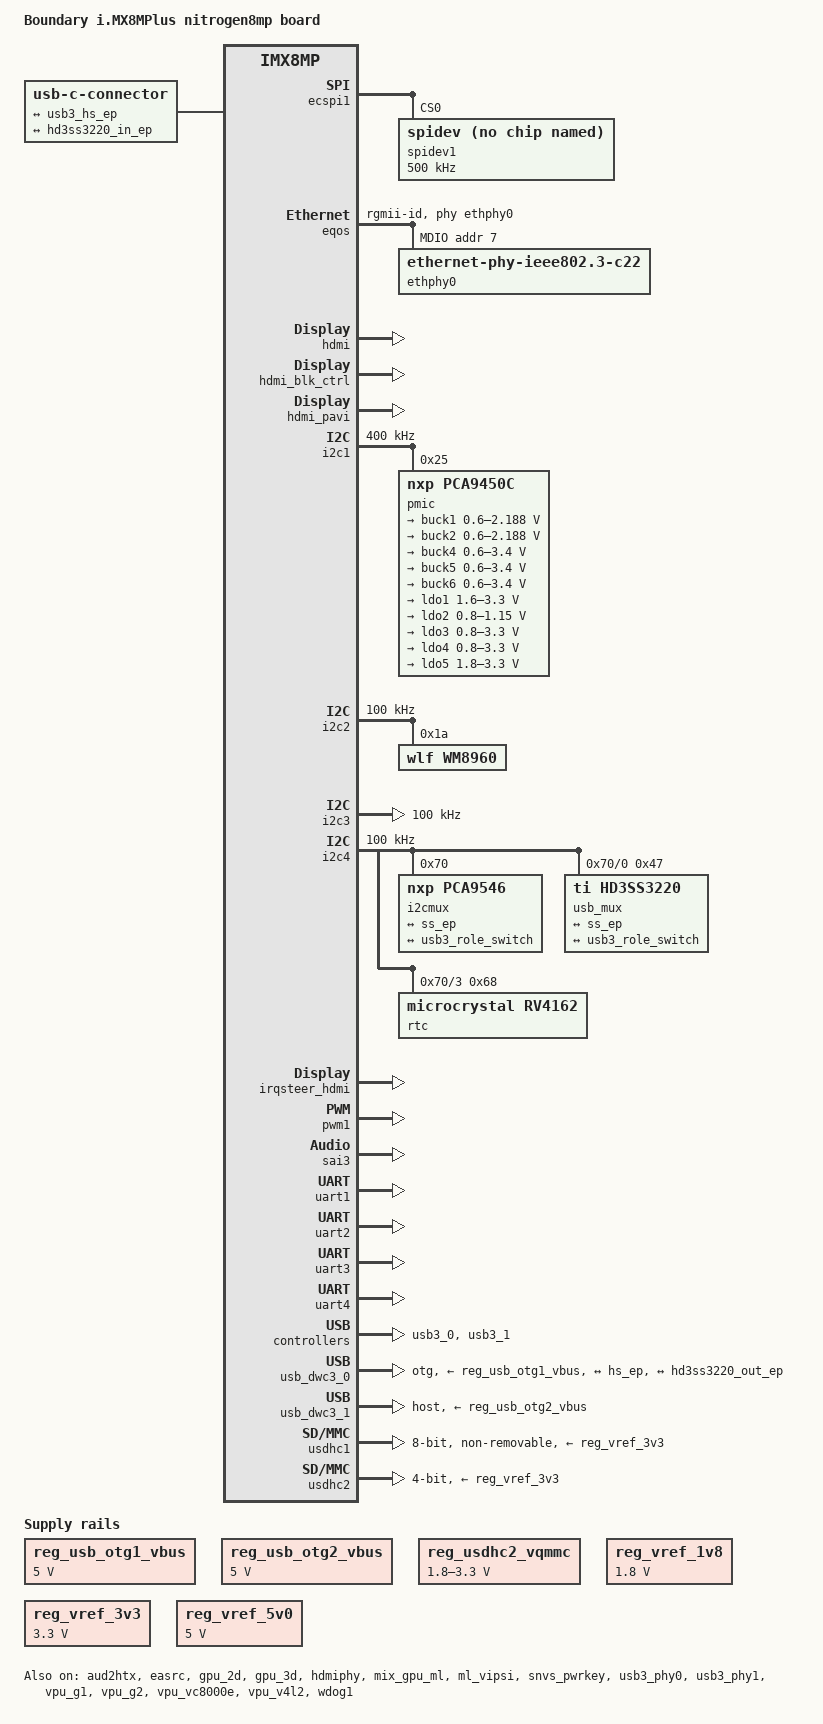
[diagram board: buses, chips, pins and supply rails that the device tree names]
// SPDX-License-Identifier: (GPL-2.0+ OR MIT)
/*
 * Copyright 2020 Boundary Devices
 */

/dts-v1/;

#include <dt-bindings/usb/pd.h>
#include "imx8mp.dtsi"

&iomuxc {
	pinctrl-names = "default";
	pinctrl-0 = <&pinctrl_hog>;

	pinctrl_backlight_mipi: backlight-mipigrp {
		fsl,pins = <
#define GP_BACKLIGHT_MIPI_EN	<&gpio1 9 GPIO_ACTIVE_HIGH>
			MX8MP_IOMUXC_GPIO1_IO09__GPIO1_IO09           0x106
		>;
	};

	pinctrl_ecspi1: ecspi1grp {
		fsl,pins = <
			/* J6 */
			MX8MP_IOMUXC_ECSPI1_SCLK__ECSPI1_SCLK		0x82	/* Pin 7 */
			MX8MP_IOMUXC_ECSPI1_MOSI__ECSPI1_MOSI		0x82	/* Pin 6 */
			MX8MP_IOMUXC_ECSPI1_MISO__ECSPI1_MISO		0x82	/* Pin 5 */
#define GP_ECSPI1_CS	<&gpio5 9 GPIO_ACTIVE_LOW>
			MX8MP_IOMUXC_ECSPI1_SS0__GPIO5_IO09		0x143	/* Pin 4 */
			MX8MP_IOMUXC_GPIO1_IO04__GPIO1_IO04		0x100	/* Pin 8 */
			MX8MP_IOMUXC_GPIO1_IO05__GPIO1_IO05		0x100	/* Pin 9 */
		>;
	};

	pinctrl_eqos: eqosgrp {
		fsl,pins = <
			MX8MP_IOMUXC_ENET_MDC__ENET_QOS_MDC		0x20
			MX8MP_IOMUXC_ENET_MDIO__ENET_QOS_MDIO		0xa0
			MX8MP_IOMUXC_ENET_TX_CTL__ENET_QOS_RGMII_TX_CTL	0x1f
			MX8MP_IOMUXC_ENET_TXC__CCM_ENET_QOS_CLOCK_GENERATE_TX_CLK	0x1f
			MX8MP_IOMUXC_ENET_TD0__ENET_QOS_RGMII_TD0		0x1f
			MX8MP_IOMUXC_ENET_TD1__ENET_QOS_RGMII_TD1		0x1f
			MX8MP_IOMUXC_ENET_TD2__ENET_QOS_RGMII_TD2		0x1f
			MX8MP_IOMUXC_ENET_TD3__ENET_QOS_RGMII_TD3		0x1f

			MX8MP_IOMUXC_ENET_RX_CTL__ENET_QOS_RGMII_RX_CTL	0x91
			MX8MP_IOMUXC_ENET_RXC__CCM_ENET_QOS_CLOCK_GENERATE_RX_CLK	0x91
			MX8MP_IOMUXC_ENET_RD0__ENET_QOS_RGMII_RD0	0x91
			MX8MP_IOMUXC_ENET_RD1__ENET_QOS_RGMII_RD1	0x91
			MX8MP_IOMUXC_ENET_RD2__ENET_QOS_RGMII_RD2	0x91
			MX8MP_IOMUXC_ENET_RD3__ENET_QOS_RGMII_RD3	0x91
#define GP_EQOS_RESET	<&gpio3 16 GPIO_ACTIVE_LOW>
			MX8MP_IOMUXC_NAND_READY_B__GPIO3_IO16		0x100
#define GPIRQ_EQOS_PHY	<&gpio3 2 IRQ_TYPE_LEVEL_LOW>
			MX8MP_IOMUXC_NAND_CE1_B__GPIO3_IO02		0x10
		>;
	};

	pinctrl_hog: hoggrp {
		fsl,pins = <
			MX8MP_IOMUXC_HDMI_DDC_SCL__HDMIMIX_HDMI_SCL	0x400001c3
			MX8MP_IOMUXC_HDMI_DDC_SDA__HDMIMIX_HDMI_SDA	0x400001c3
			MX8MP_IOMUXC_HDMI_HPD__HDMIMIX_HDMI_HPD		0x40000019
			MX8MP_IOMUXC_HDMI_CEC__HDMIMIX_HDMI_CEC		0x40000019
		>;
	};

	pinctrl_i2c1: i2c1grp {
		fsl,pins = <
			MX8MP_IOMUXC_I2C1_SCL__I2C1_SCL		0x400001c3
			MX8MP_IOMUXC_I2C1_SDA__I2C1_SDA		0x400001c3
		>;
	};

	pinctrl_i2c1_1: i2c1-1grp {
		fsl,pins = <
#define GP_I2C1_SCL	<&gpio5 14 GPIO_OPEN_DRAIN>
			MX8MP_IOMUXC_I2C1_SCL__GPIO5_IO14        	0x1c3
#define GP_I2C1_SDA	<&gpio5 15 GPIO_OPEN_DRAIN>
			MX8MP_IOMUXC_I2C1_SDA__GPIO5_IO15        	0x1c3
		>;
	};

	pinctrl_i2c2: i2c2grp {
		fsl,pins = <
			MX8MP_IOMUXC_I2C2_SCL__I2C2_SCL			0x400001c3
			MX8MP_IOMUXC_I2C2_SDA__I2C2_SDA			0x400001c3
		>;
	};

	pinctrl_i2c2_1: i2c2-1grp {
		fsl,pins = <
#define GP_I2C2_SCL	<&gpio5 16 GPIO_OPEN_DRAIN>
			MX8MP_IOMUXC_I2C2_SCL__GPIO5_IO16        	0x1c3
#define GP_I2C2_SDA	<&gpio5 17 GPIO_OPEN_DRAIN>
			MX8MP_IOMUXC_I2C2_SDA__GPIO5_IO17        	0x1c3
		>;
	};

	pinctrl_i2c3: i2c3grp {
		fsl,pins = <
			MX8MP_IOMUXC_I2C3_SCL__I2C3_SCL			0x400001c3
			MX8MP_IOMUXC_I2C3_SDA__I2C3_SDA			0x400001c3
		>;
	};

	pinctrl_i2c3_1: i2c3-1grp {
		fsl,pins = <
#define GP_I2C3_SCL	<&gpio5 18 GPIO_OPEN_DRAIN>
			MX8MP_IOMUXC_I2C3_SCL__GPIO5_IO18        	0x1c3
#define GP_I2C3_SDA	<&gpio5 19 GPIO_OPEN_DRAIN>
			MX8MP_IOMUXC_I2C3_SDA__GPIO5_IO19        	0x1c3
		>;
	};

	pinctrl_i2c4: i2c4grp {
		fsl,pins = <
			MX8MP_IOMUXC_I2C4_SCL__I2C4_SCL			0x400001c3
			MX8MP_IOMUXC_I2C4_SDA__I2C4_SDA			0x400001c3
		>;
	};

	pinctrl_i2c4_1: i2c4-1grp {
		fsl,pins = <
#define GP_I2C4_SCL	<&gpio5 20 GPIO_OPEN_DRAIN>
			MX8MP_IOMUXC_I2C4_SCL__GPIO5_IO20        	0x1c3
#define GP_I2C4_SDA	<&gpio5 21 GPIO_OPEN_DRAIN>
			MX8MP_IOMUXC_I2C4_SDA__GPIO5_IO21        	0x1c3
		>;
	};

	pinctrl_i2c4_tca9546: i2c4-tca9546grp {
		fsl,pins = <
#define GP_I2C4_MUX_RESET	<&gpio1 8 GPIO_ACTIVE_LOW>
			MX8MP_IOMUXC_GPIO1_IO08__GPIO1_IO08		0x100
		>;
	};

	pinctrl_i2c4a_hd3ss3220: i2c4-hd3ss3220grp {
		fsl,pins = <
#define GPIRQ_HD3SS3220	<&gpio5 4 IRQ_TYPE_LEVEL_LOW>
			MX8MP_IOMUXC_SPDIF_RX__GPIO5_IO04		0x140	/* TP93 */
		>;
	};

	pinctrl_i2c4d_rv4162: i2c4d-rv4162grp {
		fsl,pins = <
#define GPIRQ_RV4162		<&gpio1 10 IRQ_TYPE_LEVEL_LOW>
			MX8MP_IOMUXC_GPIO1_IO10__GPIO1_IO10		0x1c0
		>;
	};

	pinctrl_mipi_ltk0680ytmdb: mipi-ltk0680ytmdbgrp {
		fsl,pins = <
#define GP_LTK700WS08_DISPLAY_EN	<&gpio3 14 GPIO_ACTIVE_HIGH>
			MX8MP_IOMUXC_NAND_DQS__GPIO3_IO14		0x100
		>;
	};

	pinctrl_mipi_ltk069wxbct02: mipi-ltk069wxbct02grp {
		fsl,pins = <
#define GP_LTK700WS08_DISPLAY_EN	<&gpio3 14 GPIO_ACTIVE_HIGH>
			MX8MP_IOMUXC_NAND_DQS__GPIO3_IO14		0x100
		>;
	};

	pinctrl_pmic: pmicirq {
		fsl,pins = <
#define GPIRQ_PMIC	<&gpio3 0 IRQ_TYPE_LEVEL_LOW>
			MX8MP_IOMUXC_NAND_ALE__GPIO3_IO00	0x41
		>;
	};

	pinctrl_pwm1: pwm1grp {
		fsl,pins = <
			/* J14 mipi display */
			MX8MP_IOMUXC_GPIO1_IO01__PWM1_OUT	0x100
		>;
	};

	pinctrl_reg_usbotg1_vbus: reg-usbotg1-vbusgrp {
		fsl,pins = <
#define GP_REG_USB_OTG1_VBUS	<&gpio1 11 GPIO_ACTIVE_HIGH>
			MX8MP_IOMUXC_GPIO1_IO11__GPIO1_IO11	0x100
		>;
	};

	pinctrl_reg_usbotg2_vbus: reg-usbotg2-vbusgrp {
		fsl,pins = <
#define GP_REG_USB_OTG2_VBUS	<&gpio1 12 GPIO_ACTIVE_HIGH>
			MX8MP_IOMUXC_GPIO1_IO12__GPIO1_IO12	0x100
		>;
	};

	pinctrl_reg_usdhc2_vqmmc: reg_usdhc2_vqmmcgrp {
		fsl,pins = <
#define GP_USDHC2_VSEL	<&gpio1 3 GPIO_ACTIVE_HIGH>
			MX8MP_IOMUXC_GPIO1_IO03__GPIO1_IO03	0x116
		>;
	};

	pinctrl_sai3: sai3grp {
		fsl,pins = <
			/* WM8960 */
			MX8MP_IOMUXC_SAI3_TXFS__AUDIOMIX_SAI3_TX_SYNC	0xd6
			MX8MP_IOMUXC_SAI3_TXC__AUDIOMIX_SAI3_TX_BCLK	0xd6
			MX8MP_IOMUXC_SAI3_RXD__AUDIOMIX_SAI3_RX_DATA00	0xd6
			MX8MP_IOMUXC_SAI3_TXD__AUDIOMIX_SAI3_TX_DATA00	0xd6
			MX8MP_IOMUXC_SAI3_MCLK__AUDIOMIX_SAI3_MCLK	0xd6
		>;
	};

	pinctrl_sound_wm8960: sound-wm8960grp {
		fsl,pins = <
#define GP_WM8960_HP_DET	<&gpio1 14 GPIO_ACTIVE_HIGH>
			MX8MP_IOMUXC_GPIO1_IO14__GPIO1_IO14	0x80
		>;
	};


	pinctrl_ts_gt911: ts-gt911grp {
		fsl,pins = <
#define GPIRQ_TS_GT911	<&gpio3 10 IRQ_TYPE_LEVEL_HIGH>
#define GP_TS_GT911_IRQ	<&gpio3 10 GPIO_ACTIVE_HIGH>
			MX8MP_IOMUXC_NAND_DATA04__GPIO3_IO10	0x1c0
#define GP_TS_GT911_RESET	<&gpio3 9 GPIO_ACTIVE_HIGH>
			MX8MP_IOMUXC_NAND_DATA03__GPIO3_IO09	0x119
		>;
	};

	pinctrl_uart1: uart1grp {
		fsl,pins = <
			MX8MP_IOMUXC_UART1_RXD__UART1_DCE_RX	0x140
			MX8MP_IOMUXC_UART1_TXD__UART1_DCE_TX	0x140
		>;
	};

	pinctrl_uart2: uart2grp {
		fsl,pins = <
			MX8MP_IOMUXC_UART2_RXD__UART2_DCE_RX	0x140
			MX8MP_IOMUXC_UART2_TXD__UART2_DCE_TX	0x140
		>;
	};

	pinctrl_uart3: uart3grp {
		fsl,pins = <
			MX8MP_IOMUXC_UART3_RXD__UART3_DCE_RX	0x140
			MX8MP_IOMUXC_UART3_TXD__UART3_DCE_TX	0x140
		>;
	};

	pinctrl_uart4: uart4grp {
		fsl,pins = <
			MX8MP_IOMUXC_UART4_RXD__UART4_DCE_RX	0x140
			MX8MP_IOMUXC_UART4_TXD__UART4_DCE_TX	0x140
		>;
	};

	pinctrl_usb3_0: usb3-0grp {
		fsl,pins = <
			MX8MP_IOMUXC_GPIO1_IO13__USB1_OC	0x1c0
		>;
	};

	pinctrl_usb3_1: usb3-1grp {
		fsl,pins = <
#define GP_USB3_1_HUB_RESET	<&gpio1 6 GPIO_ACTIVE_LOW>
			MX8MP_IOMUXC_GPIO1_IO06__GPIO1_IO06	0x100
			MX8MP_IOMUXC_GPIO1_IO15__USB2_OC	0x1c0
		>;
	};

	pinctrl_usdhc1: usdhc1grp {
		fsl,pins = <
			MX8MP_IOMUXC_SD1_CLK__USDHC1_CLK	0x190
			MX8MP_IOMUXC_SD1_CMD__USDHC1_CMD	0x1d0
			MX8MP_IOMUXC_SD1_DATA0__USDHC1_DATA0	0x1d0
			MX8MP_IOMUXC_SD1_DATA1__USDHC1_DATA1	0x1d0
			MX8MP_IOMUXC_SD1_DATA2__USDHC1_DATA2	0x1d0
			MX8MP_IOMUXC_SD1_DATA3__USDHC1_DATA3	0x1d0
			MX8MP_IOMUXC_SD1_DATA4__USDHC1_DATA4	0x1d0
			MX8MP_IOMUXC_SD1_DATA5__USDHC1_DATA5	0x1d0
			MX8MP_IOMUXC_SD1_DATA6__USDHC1_DATA6	0x1d0
			MX8MP_IOMUXC_SD1_DATA7__USDHC1_DATA7	0x1d0
			MX8MP_IOMUXC_SD1_STROBE__USDHC1_STROBE	0x1d0
#define GP_EMMC_RESET	<&gpio2 10 IRQ_TYPE_LEVEL_LOW>
			MX8MP_IOMUXC_SD1_RESET_B__GPIO2_IO10	0x140
		>;
	};

	pinctrl_usdhc1_100mhz: usdhc1grp-100mhz {
		fsl,pins = <
			MX8MP_IOMUXC_SD1_CLK__USDHC1_CLK	0x194
			MX8MP_IOMUXC_SD1_CMD__USDHC1_CMD	0x1d4
			MX8MP_IOMUXC_SD1_DATA0__USDHC1_DATA0	0x1d4
			MX8MP_IOMUXC_SD1_DATA1__USDHC1_DATA1	0x1d4
			MX8MP_IOMUXC_SD1_DATA2__USDHC1_DATA2	0x1d4
			MX8MP_IOMUXC_SD1_DATA3__USDHC1_DATA3	0x1d4
			MX8MP_IOMUXC_SD1_DATA4__USDHC1_DATA4	0x1d4
			MX8MP_IOMUXC_SD1_DATA5__USDHC1_DATA5	0x1d4
			MX8MP_IOMUXC_SD1_DATA6__USDHC1_DATA6	0x1d4
			MX8MP_IOMUXC_SD1_DATA7__USDHC1_DATA7	0x1d4
			MX8MP_IOMUXC_SD1_STROBE__USDHC1_STROBE	0x1d4
		>;
	};

	pinctrl_usdhc1_200mhz: usdhc1grp-200mhz {
		fsl,pins = <
			MX8MP_IOMUXC_SD1_CLK__USDHC1_CLK	0x196
			MX8MP_IOMUXC_SD1_CMD__USDHC1_CMD	0x1d6
			MX8MP_IOMUXC_SD1_DATA0__USDHC1_DATA0	0x1d6
			MX8MP_IOMUXC_SD1_DATA1__USDHC1_DATA1	0x1d6
			MX8MP_IOMUXC_SD1_DATA2__USDHC1_DATA2	0x1d6
			MX8MP_IOMUXC_SD1_DATA3__USDHC1_DATA3	0x1d6
			MX8MP_IOMUXC_SD1_DATA4__USDHC1_DATA4	0x1d6
			MX8MP_IOMUXC_SD1_DATA5__USDHC1_DATA5	0x1d6
			MX8MP_IOMUXC_SD1_DATA6__USDHC1_DATA6	0x1d6
			MX8MP_IOMUXC_SD1_DATA7__USDHC1_DATA7	0x1d6
			MX8MP_IOMUXC_SD1_STROBE__USDHC1_STROBE	0x1d6
		>;
	};

	pinctrl_usdhc2: usdhc2grp {
		fsl,pins = <
			MX8MP_IOMUXC_SD2_CLK__USDHC2_CLK	0x190
			MX8MP_IOMUXC_SD2_CMD__USDHC2_CMD	0x1d0
			MX8MP_IOMUXC_SD2_DATA0__USDHC2_DATA0	0x1d0
			MX8MP_IOMUXC_SD2_DATA1__USDHC2_DATA1	0x1d0
			MX8MP_IOMUXC_SD2_DATA2__USDHC2_DATA2	0x1d0
			MX8MP_IOMUXC_SD2_DATA3__USDHC2_DATA3	0x1d0
			MX8MP_IOMUXC_SD2_WP__USDHC2_WP		0x1d0
#define GP_USDHC2_CD	<&gpio2 12 GPIO_ACTIVE_LOW>
			MX8MP_IOMUXC_SD2_CD_B__GPIO2_IO12	0x1d0
		>;
	};

	pinctrl_usdhc2_100mhz: usdhc2grp100mhz {
		fsl,pins = <
			MX8MP_IOMUXC_SD2_CLK__USDHC2_CLK	0x194
			MX8MP_IOMUXC_SD2_CMD__USDHC2_CMD	0x1d4
			MX8MP_IOMUXC_SD2_DATA0__USDHC2_DATA0	0x1d4
			MX8MP_IOMUXC_SD2_DATA1__USDHC2_DATA1	0x1d4
			MX8MP_IOMUXC_SD2_DATA2__USDHC2_DATA2	0x1d4
			MX8MP_IOMUXC_SD2_DATA3__USDHC2_DATA3	0x1d4
		>;
	};

	pinctrl_usdhc2_200mhz: usdhc2grp200mhz {
		fsl,pins = <
			MX8MP_IOMUXC_SD2_CLK__USDHC2_CLK	0x196
			MX8MP_IOMUXC_SD2_CMD__USDHC2_CMD	0x1d6
			MX8MP_IOMUXC_SD2_DATA0__USDHC2_DATA0	0x1d6
			MX8MP_IOMUXC_SD2_DATA1__USDHC2_DATA1	0x1d6
			MX8MP_IOMUXC_SD2_DATA2__USDHC2_DATA2	0x1d6
			MX8MP_IOMUXC_SD2_DATA3__USDHC2_DATA3	0x1d6
		>;
	};

	pinctrl_wdog: wdoggrp {
		fsl,pins = <
			MX8MP_IOMUXC_GPIO1_IO02__WDOG1_WDOG_B	0xc6
		>;
	};
};

#include "panel-ltk0680ytmdb.dtsi"
#include "panel-ltk069wxbct02.dtsi"

/ {
	model = "Boundary i.MX8MPlus nitrogen8mp board";
	compatible = "boundary,imx8mp-nitrogen8mp", "fsl,imx8mp";

	aliases {
		backlight_mipi = &backlight_mipi;
		ethernet0 = &eqos;
		/delete-property/ ethernet1;
		fb_mipi = &fb_mipi;
		fb_hdmi = &lcdif3;
		lcdif = &lcdif1;
		ldb = &ldb;
		ldb_chan = &ldb_chan;
		ldb_chan2 = &ldb_chan2;
		mipi = &fb_mipi;
		mipi_dsi = &mipi_dsi;
		mipi_dsi_bridge = &mipi_dsi;
		pwm_mipi = &pwm1;
		sound_hdmi = &sound_hdmi;
		t_mipi = &t_mipi;
		ts_goodix = &ts_goodix;
		usb_mux = &usb_mux;
	};

	backlight_mipi: backlight-mipi {
		brightness-levels = <0 1 2 3 4 5 6 7 8 9 10>;
		compatible = "pwm-backlight";
		default-brightness-level = <8>;
		display = <&lcdif1>;
		enable-gpios = GP_BACKLIGHT_MIPI_EN;
		pinctrl-names = "default";
		pinctrl-0 = <&pinctrl_backlight_mipi>;
		pwms = <&pwm1 0 30000 0>;	/* 33.3 Khz */
		status = "disabled";
	};

	chosen {
		stdout-path = &uart2;
	};

	connector {
		compatible = "usb-c-connector";
		label = "USB-C";
		data-role = "dual";

		ports {
			#address-cells = <1>;
			#size-cells = <0>;

			port@0 {
				reg = <0>;
				hs_ep: endpoint {
					remote-endpoint = <&usb3_hs_ep>;
				};
			};

			port@1 {
				reg = <1>;
				ss_ep: endpoint {
					remote-endpoint = <&hd3ss3220_in_ep>;
				};
			};
		};
	};

	reg_usb_otg1_vbus: regulator-usb-otg1-vbus {
		compatible = "regulator-fixed";
		pinctrl-names = "default";
		pinctrl-0 = <&pinctrl_reg_usbotg1_vbus>;
		regulator-name = "usb_otg1_vbus";
		regulator-min-microvolt = <5000000>;
		regulator-max-microvolt = <5000000>;
		gpio = GP_REG_USB_OTG1_VBUS;
		enable-active-high;
	};

	reg_usb_otg2_vbus: regulator-usb-otg2-vbus {
		compatible = "regulator-fixed";
		pinctrl-names = "default";
		pinctrl-0 = <&pinctrl_reg_usbotg2_vbus>;
		regulator-name = "usb_otg2_vbus";
		regulator-min-microvolt = <5000000>;
		regulator-max-microvolt = <5000000>;
		gpio = GP_REG_USB_OTG2_VBUS;
		enable-active-high;
	};

	reg_usdhc2_vqmmc: regulator-usdhc2-vqmmc {
		compatible = "regulator-gpio";
		pinctrl-names = "default";
		pinctrl-0 = <&pinctrl_reg_usdhc2_vqmmc>;
		regulator-name = "reg_sd2_vsel";
		regulator-min-microvolt = <1800000>;
		regulator-max-microvolt = <3300000>;
		regulator-type = "voltage";
		regulator-boot-on;
		regulator-always-on;
		gpio = GP_USDHC2_VSEL;
		states = <1800000 0x1
			  3300000 0x0>;
	};

	reg_vref_1v8: regulator-vref-1v8 {
		compatible = "regulator-fixed";
		regulator-name = "vref-1v8";
		regulator-min-microvolt = <1800000>;
		regulator-max-microvolt = <1800000>;
	};

	reg_vref_3v3: regulator-vref-3v3 {
		compatible = "regulator-fixed";
		regulator-name = "vref-3v3";
		regulator-min-microvolt = <3300000>;
		regulator-max-microvolt = <3300000>;
	};

	reg_vref_5v0: regulator-vref-5v0 {
		compatible = "regulator-fixed";
		regulator-name = "vref-5v0";
		regulator-min-microvolt = <5000000>;
		regulator-max-microvolt = <5000000>;
	};

	reserved-memory {
		linux,cma {
			size = <0 0x20000000>;
		};
	};

	sound_hdmi: sound-hdmi {
		compatible = "fsl,imx-audio-hdmi";
		model = "audio-hdmi";
		audio-cpu = <&aud2htx>;
		hdmi-out;
		constraint-rate = <44100>,
				<88200>,
				<176400>,
				<32000>,
				<48000>,
				<96000>,
				<192000>;
		status = "okay";
	};

	sound-wm8960 {
#if 0
		asrc-controller = <&easrc>;
#endif
		audio-codec = <&wm8960>;
		audio-routing =
			"Headphone Jack", "HP_L",
			"Headphone Jack", "HP_R",
			"Ext Spk", "SPK_LP",
			"Ext Spk", "SPK_LN",
			"Ext Spk", "SPK_RP",
			"Ext Spk", "SPK_RN",
			"LINPUT1", "Main MIC",
			"Main MIC", "MICB",
			"RINPUT1", "Mic Jack",
			"Mic Jack", "MICB";
#if 0
			"CPU-Playback", "ASRC-Playback",
			"Playback", "CPU-Playback",
			"ASRC-Capture", "CPU-Capture",
			"CPU-Capture", "Capture";
#endif
		codec-master;
		compatible = "fsl,imx-audio-wm8960";
		cpu-dai = <&sai3>;
		/* JD2: hp detect high for headphone*/
		hp-det = <2 0>;
		hp-det-gpios = GP_WM8960_HP_DET;
		model = "wm8960-audio";
		pinctrl-names = "default";
		pinctrl-0 = <&pinctrl_sound_wm8960>;
	};
};

&A53_0 {
	cpu-supply = <&buck2>;
};

&A53_1 {
	cpu-supply = <&buck2>;
};

&A53_2 {
	cpu-supply = <&buck2>;
};

&A53_3 {
	cpu-supply = <&buck2>;
};

&aud2htx {
	status = "okay";
};

&clk {
	init-on-array = <IMX8MP_CLK_HSIO_ROOT>;
};

&easrc {
	fsl,asrc-rate  = <48000>;
	status = "okay";
};

&ecspi1 {
	#address-cells = <1>;
	#size-cells = <0>;
	fsl,spi-num-chipselects = <1>;
	pinctrl-names = "default";
	pinctrl-0 = <&pinctrl_ecspi1>;
	cs-gpios = GP_ECSPI1_CS;
	status = "okay";

	spidev1: spi@0 {
		compatible = "spidev";
		reg = <0>;
		spi-max-frequency = <500000>;
	};
};

&eqos {
	pinctrl-names = "default";
	pinctrl-0 = <&pinctrl_eqos>;
	phy-mode = "rgmii-id";
	phy-handle = <&ethphy0>;
	status = "okay";

	mdio {
		compatible = "snps,dwmac-mdio";
		#address-cells = <1>;
		#size-cells = <0>;

		ethphy0: ethernet-phy@7 {
			compatible = "ethernet-phy-ieee802.3-c22";
			at803x,hib-disabled;
			eee-broken-1000t;
			interrupts-extended = GPIRQ_EQOS_PHY;
#if 0
			reset-gpios = GP_EQOS_RESET;
#endif
			reg = <7>;
		};
	};
};

&gpu_2d {
	status = "okay";
};

&gpu_3d {
	status = "okay";
};

&hdmi {
	status = "okay";
};

&hdmiphy {
	status = "okay";
};

&hdmi_blk_ctrl {
	status = "okay";
};

&hdmi_pavi {
	status = "okay";
};

&i2c1 {
	clock-frequency = <400000>;
	pinctrl-names = "default", "gpio";
	pinctrl-0 = <&pinctrl_i2c1>;
	pinctrl-1 = <&pinctrl_i2c1_1>;
	scl-gpios = GP_I2C1_SCL;
	sda-gpios = GP_I2C1_SDA;
	status = "okay";

	pmic: pca9450@25 {
		reg = <0x25>;
		compatible = "nxp,pca9450c";
		/* PMIC PCA9450 PMIC_nINT GPIO1_IO3 */
		pinctrl-0 = <&pinctrl_pmic>;
		interrupts-extended = GPIRQ_PMIC;

		regulators {
			buck1: BUCK1 {
				regulator-name = "BUCK1";
				regulator-min-microvolt = <600000>;
				regulator-max-microvolt = <2187500>;
				regulator-boot-on;
				regulator-always-on;
				regulator-ramp-delay = <3125>;
			};

			buck2: BUCK2 {
				regulator-name = "BUCK2";
				regulator-min-microvolt = <600000>;
				regulator-max-microvolt = <2187500>;
				regulator-limit-microvolt = <1025000>;
				regulator-boot-on;
				regulator-always-on;
				regulator-ramp-delay = <3125>;
				nxp,dvs-run-voltage = <950000>;
				nxp,dvs-standby-voltage = <850000>;
			};

			buck4: BUCK4 {
				regulator-name = "BUCK4";
				regulator-min-microvolt = <600000>;
				regulator-max-microvolt = <3400000>;
				regulator-boot-on;
				regulator-always-on;
			};

			buck5: BUCK5 {
				regulator-name = "BUCK5";
				regulator-min-microvolt = <600000>;
				regulator-max-microvolt = <3400000>;
				regulator-boot-on;
				regulator-always-on;
			};

			buck6: BUCK6 {
				regulator-name = "BUCK6";
				regulator-min-microvolt = <600000>;
				regulator-max-microvolt = <3400000>;
				regulator-boot-on;
				regulator-always-on;
			};

			ldo1: LDO1 {
				regulator-name = "LDO1";
				regulator-min-microvolt = <1600000>;
				regulator-max-microvolt = <3300000>;
				regulator-boot-on;
				regulator-always-on;
			};

			ldo2: LDO2 {
				regulator-name = "LDO2";
				regulator-min-microvolt = <800000>;
				regulator-max-microvolt = <1150000>;
				regulator-boot-on;
				regulator-always-on;
			};

			ldo3: LDO3 {
				regulator-name = "LDO3";
				regulator-min-microvolt = <800000>;
				regulator-max-microvolt = <3300000>;
				regulator-boot-on;
				regulator-always-on;
			};

			ldo4: LDO4 {
				regulator-name = "LDO4";
				regulator-min-microvolt = <800000>;
				regulator-max-microvolt = <3300000>;
				regulator-boot-on;
				regulator-always-on;
			};

			ldo5: LDO5 {
				regulator-name = "LDO5";
				regulator-min-microvolt = <1800000>;
				regulator-max-microvolt = <3300000>;
				regulator-boot-on;
				regulator-always-on;
			};
		};
	};
};

&i2c2 {
	clock-frequency = <100000>;
	pinctrl-names = "default", "gpio";
	pinctrl-0 = <&pinctrl_i2c2>;
	pinctrl-1 = <&pinctrl_i2c2_1>;
	scl-gpios = GP_I2C2_SCL;
	sda-gpios = GP_I2C2_SDA;
	status = "okay";

	wm8960: codec@1a {
		compatible = "wlf,wm8960";
		reg = <0x1a>;
		clocks = <&audio_blk_ctrl IMX8MP_CLK_AUDIO_BLK_CTRL_SAI3_MCLK1>;
		clock-names = "mclk";
		wlf,shared-lrclk;
	};
};

&i2c3 {
	clock-frequency = <100000>;
	pinctrl-names = "default", "gpio";
	pinctrl-0 = <&pinctrl_i2c3>;
	pinctrl-1 = <&pinctrl_i2c3_1>;
	scl-gpios = GP_I2C3_SCL;
	sda-gpios = GP_I2C3_SDA;
	status = "okay";

	ts_goodix: touchscreen@5d {
		compatible = "goodix,gt9271";
		esd-recovery-timeout-ms = <2000>;
		interrupts-extended = GPIRQ_TS_GT911;
		irq-gpios = GP_TS_GT911_IRQ;
		pinctrl-names = "default";
		pinctrl-0 = <&pinctrl_ts_gt911>;
		reg = <0x5d>;
		reset-gpios = GP_TS_GT911_RESET;
		status = "disabled";
	};
};

&i2c4 {
	clock-frequency = <100000>;
	pinctrl-names = "default", "gpio";
	pinctrl-0 = <&pinctrl_i2c4>;
	pinctrl-1 = <&pinctrl_i2c4_1>;
	scl-gpios = GP_I2C4_SCL;
	sda-gpios = GP_I2C4_SDA;
	status = "okay";

	i2cmux@70 {
		compatible = "nxp,pca9546";
		pinctrl-names = "default";
		pinctrl-0 = <&pinctrl_i2c4_tca9546>;
		reg = <0x70>;
		reset-gpios = GP_I2C4_MUX_RESET;
		#address-cells = <1>;
		#size-cells = <0>;

		i2c4a: i2c4@0 {
			/* usb type c chip */
			reg = <0>;
			#address-cells = <1>;
			#size-cells = <0>;
		};

		i2c4b: i2c4@1 {
			/* spare */
			reg = <1>;
			#address-cells = <1>;
			#size-cells = <0>;
		};

		i2c4c: i2c4@2 {
			/* J6 connector */
			reg = <2>;
			#address-cells = <1>;
			#size-cells = <0>;
		};

		i2c4d: i2c4@3 {
			/* rtc */
			reg = <3>;
			#address-cells = <1>;
			#size-cells = <0>;
		};
	};
};

&i2c4a {
	usb_mux: hd3ss3220@47 {
		/* tusb320 is compatible with hd3ss3220 */
		compatible = "ti,hd3ss3220";
		interrupts-extended = GPIRQ_HD3SS3220;
		pinctrl-names = "default";
		pinctrl-0 = <&pinctrl_i2c4a_hd3ss3220>;
		reg = <0x47>;

		ports {
			#address-cells = <1>;
			#size-cells = <0>;

			port@0 {
				reg = <0>;
				hd3ss3220_in_ep: endpoint {
					remote-endpoint = <&ss_ep>;
				};
			};

			port@1 {
				reg = <1>;
				hd3ss3220_out_ep: endpoint {
					remote-endpoint = <&usb3_role_switch>;
				};
			};
		};
	};
};

&i2c4d {
	rtc@68 {
		compatible = "microcrystal,rv4162";
		pinctrl-names = "default";
		pinctrl-0 = <&pinctrl_i2c4d_rv4162>;
		reg = <0x68>;
		interrupts-extended = GPIRQ_RV4162;
		wakeup-source;
	};
};

&irqsteer_hdmi {
	status = "okay";
};

&mipi_dsi {
	status = "disabled";

	fb_mipi: panel@0 {
		backlight = <&backlight_mipi>;
		bits-per-color = <8>;
		bridge-de-active = <0>;
		bus-format = "rgb888";
		clocks = <&mipi_dsi 0>,
			<&clk IMX8MP_CLK_MEDIA_DISP1_PIX_ROOT>;
		clock-names = "mipi_clk", "pixel_clock";
		compatible = "panel,common";
		dsi-format = "rgb888";
		dsi-lanes = <4>;
#if 0
		/* u-boot will set this where appropriate */
		enable-gpios = GP_LTK700WS08_DISPLAY_EN;
		mipi-cmds = <&mipi_cmds_ltk080a60a004t>;
#endif
		mode-skip-eot;
		mode-video;
		mode-video-burst;
		panel-height-mm = <136>;
		panel-width-mm = <217>;
		power-supply = <&reg_vref_5v0>;
		reg = <0>;
		spwg;

		display-timings {
			t_mipi: t-dsi-default {
				/* m101nwwb by default */
				clock-frequency = <66000000>;
				hactive = <1280>;
				vactive = <800>;
				hback-porch = <5>;
				hfront-porch = <123>;
				vback-porch = <3>;
				vfront-porch = <24>;
				hsync-len = <1>;
				vsync-len = <1>;
				hsync-active = <0>;
				vsync-active = <0>;
				de-active = <1>;
			};
		};
	};
};

&mix_gpu_ml {
	status = "okay";
};

&ml_vipsi {
	status = "okay";
};

&pwm1 {
	pinctrl-names = "default";
	pinctrl-0 = <&pinctrl_pwm1>;
	status = "okay";
};

&sai3 {
	pinctrl-names = "default";
	pinctrl-0 = <&pinctrl_sai3>;
	assigned-clocks = <&clk IMX8MP_CLK_SAI3>;
	assigned-clock-parents = <&clk IMX8MP_AUDIO_PLL1_OUT>;
	assigned-clock-rates = <12288000>;
	clocks = <&audio_blk_ctrl IMX8MP_CLK_AUDIO_BLK_CTRL_SAI3_IPG>, <&clk IMX8MP_CLK_DUMMY>,
		 <&audio_blk_ctrl IMX8MP_CLK_AUDIO_BLK_CTRL_SAI3_MCLK1>, <&clk IMX8MP_CLK_DUMMY>,
		 <&clk IMX8MP_CLK_DUMMY>;
	clock-names = "bus", "mclk0", "mclk1", "mclk2", "mclk3";
	fsl,sai-mclk-direction-output;
	status = "okay";
};

&sdma2 {
	status = "okay";
};

&snvs_pwrkey {
	status = "okay";
};

&uart1 { /* J3 */
	pinctrl-names = "default";
	pinctrl-0 = <&pinctrl_uart1>;
	assigned-clocks = <&clk IMX8MP_CLK_UART1>;
	assigned-clock-parents = <&clk IMX8MP_SYS_PLL1_80M>;
	status = "okay";
};

&uart2 {
	/* J1 - console */
	pinctrl-names = "default";
	pinctrl-0 = <&pinctrl_uart2>;
	status = "okay";
};

&uart3 { /* J4 */
	pinctrl-names = "default";
	pinctrl-0 = <&pinctrl_uart3>;
	assigned-clocks = <&clk IMX8MP_CLK_UART3>;
	assigned-clock-parents = <&clk IMX8MP_SYS_PLL1_80M>;
	status = "okay";
};

&uart4 { /* J2 */
	pinctrl-names = "default";
	pinctrl-0 = <&pinctrl_uart4>;
	assigned-clocks = <&clk IMX8MP_CLK_UART4>;
	assigned-clock-parents = <&clk IMX8MP_SYS_PLL1_80M>;
	status = "okay";
};

&usb3_0 {
	fsl,over-current-active-low;
	status = "okay";
};

&usb3_1 {
	fsl,over-current-active-low;
	status = "okay";
};

&usb_dwc3_0 {
	dr_mode = "otg";
	pinctrl-names = "default";
	pinctrl-0 = <&pinctrl_usb3_0>;
	status = "okay";
	usb-role-switch;
	vbus-supply = <&reg_usb_otg1_vbus>;

	ports {
		#address-cells = <1>;
		#size-cells = <0>;

		port@0 {
			reg = <0>;
			usb3_hs_ep: endpoint {
				remote-endpoint = <&hs_ep>;
			};
		};

		port@1 {
			reg = <1>;
			usb3_role_switch: endpoint {
				remote-endpoint = <&hd3ss3220_out_ep>;
			};
		};
	};
};

&usb_dwc3_1 {
	dr_mode = "host";
	pinctrl-names = "default";
	pinctrl-0 = <&pinctrl_usb3_1>;
	reset-gpios = GP_USB3_1_HUB_RESET;
	status = "okay";
	vbus-supply = <&reg_usb_otg2_vbus>;
};

&usb3_phy0 {
	fsl,phy-tx-preemp-amp-tune = <2>;
	status = "okay";
	vbus-supply = <&reg_vref_5v0>;
};

&usb3_phy1 {
	fsl,phy-tx-preemp-amp-tune = <2>;
	status = "okay";
	vbus-supply = <&reg_vref_5v0>;
};

&usdhc1 {
	bus-width = <8>;
	no-mmc-hs400;
	non-removable;
	pinctrl-names = "default", "state_100mhz", "state_200mhz";
	pinctrl-0 = <&pinctrl_usdhc1>;
	pinctrl-1 = <&pinctrl_usdhc1_100mhz>;
	pinctrl-2 = <&pinctrl_usdhc1_200mhz>;
	status = "okay";
	vmmc-supply = <&reg_vref_3v3>;
	vqmmc-1-8-v;
	vqmmc-supply = <&reg_vref_1v8>;
};

&usdhc2 {
	bus-width = <4>;
	cd-gpios = GP_USDHC2_CD;
	pinctrl-names = "default", "state_100mhz", "state_200mhz";
	pinctrl-0 = <&pinctrl_usdhc2>;
	pinctrl-1 = <&pinctrl_usdhc2_100mhz>;
	pinctrl-2 = <&pinctrl_usdhc2_200mhz>;
	status = "okay";
	vmmc-supply = <&reg_vref_3v3>;
	vqmmc-supply = <&reg_usdhc2_vqmmc>;
};

&vpu_g1 {
	status = "okay";
};

&vpu_g2 {
	status = "okay";
};

&vpu_vc8000e {
	status = "okay";
};

&vpu_v4l2 {
	status = "okay";
};

&wdog1 {
	pinctrl-names = "default";
	pinctrl-0 = <&pinctrl_wdog>;
	fsl,ext-reset-output;
	status = "okay";
};
